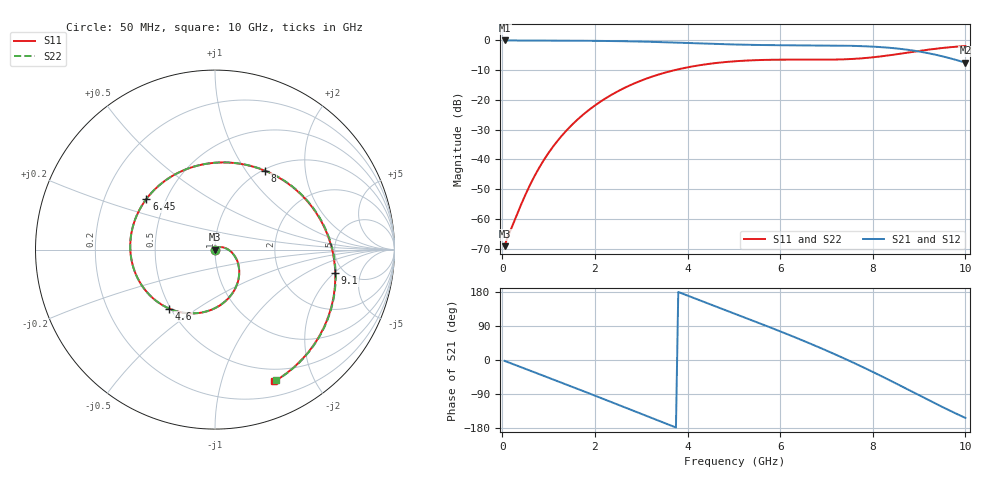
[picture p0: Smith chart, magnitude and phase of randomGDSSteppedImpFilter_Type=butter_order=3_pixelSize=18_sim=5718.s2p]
! freq	dB(S11)	phase(S11)	dB(S12)	phase(S12)
!  dB(S21)	phase(S21)	dB(S22)	phase(S22)
!S-par simulation data
#  GHz  S  DB  R 50
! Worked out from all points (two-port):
!   200 points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, 50 MHz to 10 GHz, reference 50 ohm
!   highest |S21| = 0.00 dB at 50 MHz (marker M1); lowest = -7.5 dB at 10 GHz (marker M2)
!   |S21| within 3 dB of the highest: start of sweep to 8.69 GHz
!   lowest |S11| = -69.2 dB at 50 MHz (marker M3), VSWR 1.00, Z = 50 - j0.00691 ohm
!   |S11| at or under -10 dB: start of sweep to 3.718 GHz
!   |S22| runs from -69.1 to -1.9 dB; largest |S21 - S12| = 0
!   S11 on the Smith chart (normalised r, x): 50 MHz: 1.00, -0.00; 4.6 GHz: 0.49, -0.39; 6.45 GHz: 0.39, +0.28; 8 GHz: 1.03, +1.23; 9.1 GHz: 4.24, -2.08; 10 GHz: 0.36, -1.49
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0.05  -69.17 -11.4  -0.00 -2.4  -0.00 -2.4  -69.12 -11.2
0.5  -51.85 67.2  -0.03 -23.4  -0.03 -23.4  -51.84 66.1
0.85  -41.39 53.2  -0.05 -39.7  -0.05 -39.7  -41.39 52.3
1.25  -32.67 33.7  -0.07 -58.5  -0.07 -58.5  -32.67 33.0
1.75  -24.89 9.2  -0.11 -82.1  -0.11 -82.1  -24.89 8.7
2.1  -20.78 -7.9  -0.15 -98.8  -0.15 -98.8  -20.78 -8.3
2.5  -17.05 -27.4  -0.23 -118.0  -0.23 -118.0  -17.05 -27.8
2.95  -13.80 -49.4  -0.36 -139.7  -0.36 -139.7  -13.80 -49.7
3.4  -11.34 -71.1  -0.55 -161.4  -0.55 -161.4  -11.34 -71.4
3.95  -9.20 -97.4  -0.83 172.3  -0.83 172.3  -9.20 -97.6
4.6  -7.61 -127.9  -1.18 141.7  -1.18 141.7  -7.61 -128.1
5.05  -6.97 -148.9  -1.37 120.7  -1.37 120.7  -6.97 -149.0
5.75  -6.51 178.1  -1.57 87.7  -1.57 87.7  -6.51 178.2
6.45  -6.47 143.6  -1.64 53.4  -1.64 53.4  -6.46 143.8
6.7  -6.48 130.7  -1.66 40.7  -1.66 40.7  -6.48 131.0
7.4  -6.34 92.6  -1.76 3.2  -1.76 3.2  -6.34 93.1
8  -5.67 57.4  -2.08 -31.4  -2.08 -31.4  -5.68 58.2
8.35  -5.01 36.0  -2.45 -52.5  -2.45 -52.5  -5.02 37.0
8.7  -4.23 14.2  -3.02 -74.2  -3.02 -74.2  -4.23 15.1
9.1  -3.31 -11.1  -3.99 -99.2  -3.99 -99.2  -3.32 -10.1
9.55  -2.46 -39.0  -5.51 -126.8  -5.51 -126.8  -2.46 -38.1
10  -1.88 -65.8  -7.46 -152.9  -7.46 -152.9  -1.88 -64.9
